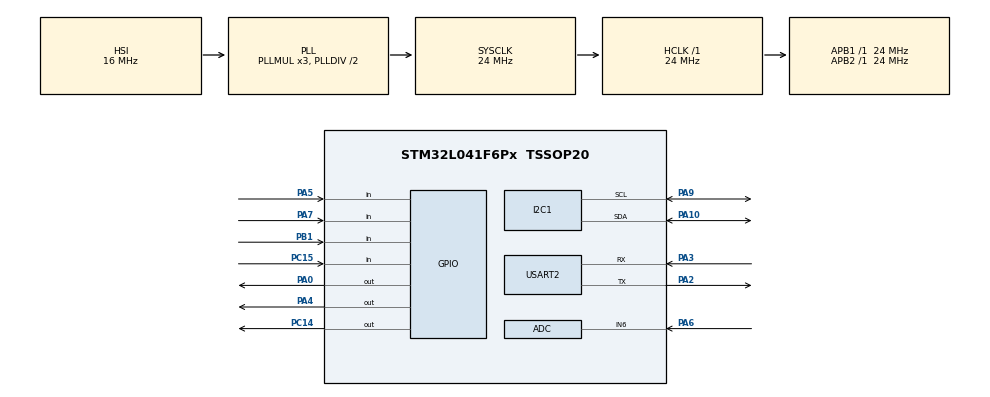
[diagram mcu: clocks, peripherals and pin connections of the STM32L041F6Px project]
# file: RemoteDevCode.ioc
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Mcu.Family=STM32L0
RCC.MSI_VALUE=4194000
PA6.Mode=IN6
PA10.Mode=I2C
VP_RTC_VS_RTC_Activate.Mode=RTC_Enabled
PC14-OSC32_IN.Signal=GPIO_Output
NVIC.USART2_IRQn=true\:0\:0\:false\:false\:true\:true\:true
RCC.SYSCLKSource=RCC_SYSCLKSOURCE_PLLCLK
ProjectManager.StackSize=0x400
NVIC.RTC_IRQn=true\:0\:0\:false\:false\:true\:true\:true
RTC.WakeUpClock-WakeUp=RTC_WAKEUPCLOCK_CK_SPRE_16BITS
PA3.Mode=Asynchronous
PA13.Signal=SYS_SWDIO
RCC.HSI16_VALUE=16000000
SH.S_TIM2_CH2.0=TIM2_CH2
PA9.Mode=I2C
RTC.SynchPrediv=289
ProjectManager.TargetToolchain=STM32CubeIDE
RCC.HCLKFreq_Value=24000000
RCC.APB2TimFreq_Value=24000000
PA9.Signal=I2C1_SCL
I2C1.Timing=0x00506682
RCC.LSE_VALUE=32768
PC15-OSC32_OUT.Signal=GPIO_Input
PA1.Signal=S_TIM2_CH2
RCC.AHBFreq_Value=24000000
PA5.Signal=GPIO_Input
RCC.HSE_VALUE=8000000
board=custom
USART2.VirtualMode-Asynchronous=VM_ASYNC
RCC.VCOOutputFreq_Value=48000000
PA0-CK_IN.Signal=GPIO_Output
RCC.APB2Freq_Value=24000000
PA14.Mode=Serial_Wire
RCC.ADCFreq_Value=16000000
PA13.Mode=Serial_Wire
Mcu.Name=STM32L041F6Px
PA2.Signal=USART2_TX
PA4.Signal=GPIO_Output
RCC.SYSCLKFreq_VALUE=24000000
Mcu.Package=TSSOP20
PB1.Signal=GPIO_Input
PA6.Signal=ADC_IN6
PC14-OSC32_IN.PinState=GPIO_PIN_SET
RTC.WakeUpCounter-WakeUp=5
PA10.Signal=I2C1_SDA
PA14.Signal=SYS_SWCLK
ProjectManager.HeapSize=0x200
RCC.HSI_VALUE=16000000
VP_RTC_VS_RTC_WakeUp_intern.Mode=WakeUp
PC14-OSC32_IN.GPIO_ModeDefaultOutputPP=GPIO_MODE_OUTPUT_OD
RCC.APB1TimFreq_Value=24000000
PA2.Mode=Asynchronous
RCC.APB1Freq_Value=24000000
RCC.MSIClockRange=RCC_MSIRANGE_6
PA3.Signal=USART2_RX
PA7.Signal=GPIO_Input

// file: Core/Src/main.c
/* USER CODE BEGIN Header */
/**
  ******************************************************************************
  * @file           : main.c
  * @brief          : Main program body
  ******************************************************************************
  * @attention
  *
  * <h2><center>&copy; Copyright (c) 2022 STMicroelectronics.
  * All rights reserved.</center></h2>
  *
  * This software component is licensed by ST under BSD 3-Clause license,
  * the "License"; You may not use this file except in compliance with the
  * License. You may obtain a copy of the License at:
  *                        opensource.org/licenses/BSD-3-Clause
  *
  ******************************************************************************
  */

/* USER CODE END Header */
#include "main.h"

/* USER CODE BEGIN Includes */
#include "ADT7410_TempSensor.h"
/* USER CODE END Includes */

/* USER CODE BEGIN PTD */

// **********************************
// ** Temperature / I2C1 / ADT7140 **
// **********************************
short int Temp1_E;
short int Temp1_F;
short int Temp2_E;
short int Temp2_F;
short int Temp1,Temp2;

/* USER CODE END PTD */

ADC_HandleTypeDef hadc;

I2C_HandleTypeDef hi2c1;

RTC_HandleTypeDef hrtc;

UART_HandleTypeDef huart2;

/* USER CODE BEGIN PV */
static void SystemPower_Config(void);
/* USER CODE END PV */

void SystemClock_Config(void);
static void MX_GPIO_Init(void);
static void MX_ADC_Init(void);
static void MX_USART2_UART_Init(void);
static void MX_I2C1_Init(void);
static void MX_RTC_Init(void);

int main(void)
{

  // =============================================================================
  // ******************************************
  // ** POR Reset = reset Hard
  // ******************************************
  // =============================================================================

  /* MCU Configuration--------------------------------------------------------*/

  /* Reset of all peripherals, Initializes the Flash interface and the Systick. */
  HAL_Init();

  /* Configure the system clock */
  SystemClock_Config();

  /* USER CODE BEGIN SysInit */
  // pour pouvoir débugger en mode standby...
  DBGMCU->CR|=DBGMCU_CR_DBG_STANDBY;

  /* USER CODE END SysInit */

  /* Initialize all configured peripherals */
  MX_GPIO_Init();
  MX_ADC_Init();
  MX_USART2_UART_Init();
  MX_I2C1_Init();
  MX_RTC_Init();

  /* USER CODE BEGIN 2 */
   SystemPower_Config();
  /* Check and handle if the system was resumed from StandBy mode */
  if(__HAL_PWR_GET_FLAG(PWR_FLAG_SB) != RESET)
  {
    /* Clear Standby flag */
    __HAL_PWR_CLEAR_FLAG(PWR_FLAG_SB);
  }

  // ******************************************
  // ** Temperature / I2C1 / ADT7140 test OK **
  // ******************************************

  ADT7410_Init();
  Temp1=ADT7410_GetTemp_fract_9_7();
  Temp1_E =Temp1>>7;
  Temp1_F =Temp1 & 0x003F;

  // test
  HAL_GPIO_TogglePin(GPIOA, 1);

  // ******************************************
  // ** Endormissement Stanby mode			 **
  // ******************************************
  /* Clear the WAKEUPTIMER interrupt pending bit */
  //__HAL_RTC_WAKEUPTIMER_CLEAR_FLAG(hrtc, RTC_FLAG_WUTF);
  // clear global
  __HAL_PWR_CLEAR_FLAG(PWR_FLAG_WU);
  //HAL_PWR_EnterSTANDBYMode();

  /* USER CODE END 2 */

  /* Infinite loop */
  while (1)
  {

  }
}

void SystemClock_Config(void)
{
  RCC_OscInitTypeDef RCC_OscInitStruct = {0};
  RCC_ClkInitTypeDef RCC_ClkInitStruct = {0};
  RCC_PeriphCLKInitTypeDef PeriphClkInit = {0};

  /** Configure the main internal regulator output voltage
  */
  __HAL_PWR_VOLTAGESCALING_CONFIG(PWR_REGULATOR_VOLTAGE_SCALE1);
  /** Initializes the RCC Oscillators according to the specified parameters
  * in the RCC_OscInitTypeDef structure.
  */
  RCC_OscInitStruct.OscillatorType = RCC_OSCILLATORTYPE_HSI|RCC_OSCILLATORTYPE_LSI;
  RCC_OscInitStruct.HSIState = RCC_HSI_ON;
  RCC_OscInitStruct.HSICalibrationValue = RCC_HSICALIBRATION_DEFAULT;
  RCC_OscInitStruct.LSIState = RCC_LSI_ON;
  RCC_OscInitStruct.PLL.PLLState = RCC_PLL_ON;
  RCC_OscInitStruct.PLL.PLLSource = RCC_PLLSOURCE_HSI;
  RCC_OscInitStruct.PLL.PLLMUL = RCC_PLLMUL_3;
  RCC_OscInitStruct.PLL.PLLDIV = RCC_PLLDIV_2;
  if (HAL_RCC_OscConfig(&RCC_OscInitStruct) != HAL_OK)
  {
    Error_Handler();
  }
  /** Initializes the CPU, AHB and APB buses clocks
  */
  RCC_ClkInitStruct.ClockType = RCC_CLOCKTYPE_HCLK|RCC_CLOCKTYPE_SYSCLK
                              |RCC_CLOCKTYPE_PCLK1|RCC_CLOCKTYPE_PCLK2;
  RCC_ClkInitStruct.SYSCLKSource = RCC_SYSCLKSOURCE_PLLCLK;
  RCC_ClkInitStruct.AHBCLKDivider = RCC_SYSCLK_DIV1;
  RCC_ClkInitStruct.APB1CLKDivider = RCC_HCLK_DIV1;
  RCC_ClkInitStruct.APB2CLKDivider = RCC_HCLK_DIV1;

  if (HAL_RCC_ClockConfig(&RCC_ClkInitStruct, FLASH_LATENCY_1) != HAL_OK)
  {
    Error_Handler();
  }
  PeriphClkInit.PeriphClockSelection = RCC_PERIPHCLK_USART2|RCC_PERIPHCLK_I2C1
                              |RCC_PERIPHCLK_RTC;
  PeriphClkInit.Usart2ClockSelection = RCC_USART2CLKSOURCE_PCLK1;
  PeriphClkInit.I2c1ClockSelection = RCC_I2C1CLKSOURCE_PCLK1;
  PeriphClkInit.RTCClockSelection = RCC_RTCCLKSOURCE_LSI;
  if (HAL_RCCEx_PeriphCLKConfig(&PeriphClkInit) != HAL_OK)
  {
    Error_Handler();
  }
}

static void MX_ADC_Init(void)
{

  ADC_ChannelConfTypeDef sConfig = {0};

  /** Configure the global features of the ADC (Clock, Resolution, Data Alignment and number of conversion)
  */
  hadc.Instance = ADC1;
  hadc.Init.OversamplingMode = DISABLE;
  hadc.Init.ClockPrescaler = ADC_CLOCK_SYNC_PCLK_DIV2;
  hadc.Init.Resolution = ADC_RESOLUTION_12B;
  hadc.Init.SamplingTime = ADC_SAMPLETIME_1CYCLE_5;
  hadc.Init.ScanConvMode = ADC_SCAN_DIRECTION_FORWARD;
  hadc.Init.DataAlign = ADC_DATAALIGN_RIGHT;
  hadc.Init.ContinuousConvMode = DISABLE;
  hadc.Init.DiscontinuousConvMode = DISABLE;
  hadc.Init.ExternalTrigConvEdge = ADC_EXTERNALTRIGCONVEDGE_NONE;
  hadc.Init.ExternalTrigConv = ADC_SOFTWARE_START;
  hadc.Init.DMAContinuousRequests = DISABLE;
  hadc.Init.EOCSelection = ADC_EOC_SINGLE_CONV;
  hadc.Init.Overrun = ADC_OVR_DATA_PRESERVED;
  hadc.Init.LowPowerAutoWait = DISABLE;
  hadc.Init.LowPowerFrequencyMode = DISABLE;
  hadc.Init.LowPowerAutoPowerOff = DISABLE;
  if (HAL_ADC_Init(&hadc) != HAL_OK)
  {
    Error_Handler();
  }
  /** Configure for the selected ADC regular channel to be converted.
  */
  sConfig.Channel = ADC_CHANNEL_6;
  sConfig.Rank = ADC_RANK_CHANNEL_NUMBER;
  if (HAL_ADC_ConfigChannel(&hadc, &sConfig) != HAL_OK)
  {
    Error_Handler();
  }

}

static void MX_I2C1_Init(void)
{

  hi2c1.Instance = I2C1;
  hi2c1.Init.Timing = 0x00506682;
  hi2c1.Init.OwnAddress1 = 0;
  hi2c1.Init.AddressingMode = I2C_ADDRESSINGMODE_7BIT;
  hi2c1.Init.DualAddressMode = I2C_DUALADDRESS_DISABLE;
  hi2c1.Init.OwnAddress2 = 0;
  hi2c1.Init.OwnAddress2Masks = I2C_OA2_NOMASK;
  hi2c1.Init.GeneralCallMode = I2C_GENERALCALL_DISABLE;
  hi2c1.Init.NoStretchMode = I2C_NOSTRETCH_DISABLE;
  if (HAL_I2C_Init(&hi2c1) != HAL_OK)
  {
    Error_Handler();
  }
  /** Configure Analogue filter
  */
  if (HAL_I2CEx_ConfigAnalogFilter(&hi2c1, I2C_ANALOGFILTER_ENABLE) != HAL_OK)
  {
    Error_Handler();
  }
  /** Configure Digital filter
  */
  if (HAL_I2CEx_ConfigDigitalFilter(&hi2c1, 0) != HAL_OK)
  {
    Error_Handler();
  }

}

static void MX_RTC_Init(void)
{

  /** Initialize RTC Only
  */
  hrtc.Instance = RTC;
  hrtc.Init.HourFormat = RTC_HOURFORMAT_24;
  hrtc.Init.AsynchPrediv = 127;
  hrtc.Init.SynchPrediv = 289;
  hrtc.Init.OutPut = RTC_OUTPUT_DISABLE;
  hrtc.Init.OutPutRemap = RTC_OUTPUT_REMAP_NONE;
  hrtc.Init.OutPutPolarity = RTC_OUTPUT_POLARITY_HIGH;
  hrtc.Init.OutPutType = RTC_OUTPUT_TYPE_OPENDRAIN;
  if (HAL_RTC_Init(&hrtc) != HAL_OK)
  {
    Error_Handler();
  }
  /** Enable the WakeUp
  */
  if (HAL_RTCEx_SetWakeUpTimer_IT(&hrtc, 10, RTC_WAKEUPCLOCK_CK_SPRE_16BITS) != HAL_OK)
  {
    Error_Handler();
  }

}

static void MX_USART2_UART_Init(void)
{

  huart2.Instance = USART2;
  huart2.Init.BaudRate = 115200;
  huart2.Init.WordLength = UART_WORDLENGTH_8B;
  huart2.Init.StopBits = UART_STOPBITS_1;
  huart2.Init.Parity = UART_PARITY_NONE;
  huart2.Init.Mode = UART_MODE_TX_RX;
  huart2.Init.HwFlowCtl = UART_HWCONTROL_NONE;
  huart2.Init.OverSampling = UART_OVERSAMPLING_16;
  huart2.Init.OneBitSampling = UART_ONE_BIT_SAMPLE_DISABLE;
  huart2.AdvancedInit.AdvFeatureInit = UART_ADVFEATURE_NO_INIT;
  if (HAL_UART_Init(&huart2) != HAL_OK)
  {
    Error_Handler();
  }

}

static void MX_GPIO_Init(void)
{
  GPIO_InitTypeDef GPIO_InitStruct = {0};

  /* GPIO Ports Clock Enable */
  __HAL_RCC_GPIOC_CLK_ENABLE();
  __HAL_RCC_GPIOA_CLK_ENABLE();
  __HAL_RCC_GPIOB_CLK_ENABLE();

  /*Configure GPIO pin Output Level */
  HAL_GPIO_WritePin(GPIOC, GPIO_PIN_14, GPIO_PIN_SET);

  /*Configure GPIO pin Output Level */
  HAL_GPIO_WritePin(GPIOA, GPIO_PIN_0|GPIO_PIN_4, GPIO_PIN_RESET);

  /*Configure GPIO pin : PC14 */
  GPIO_InitStruct.Pin = GPIO_PIN_14;
  GPIO_InitStruct.Mode = GPIO_MODE_OUTPUT_OD;
  GPIO_InitStruct.Pull = GPIO_NOPULL;
  GPIO_InitStruct.Speed = GPIO_SPEED_FREQ_LOW;
  HAL_GPIO_Init(GPIOC, &GPIO_InitStruct);

  /*Configure GPIO pin : PC15 */
  GPIO_InitStruct.Pin = GPIO_PIN_15;
  GPIO_InitStruct.Mode = GPIO_MODE_INPUT;
  GPIO_InitStruct.Pull = GPIO_NOPULL;
  HAL_GPIO_Init(GPIOC, &GPIO_InitStruct);

  /*Configure GPIO pins : PA0 PA4 */
  GPIO_InitStruct.Pin = GPIO_PIN_0|GPIO_PIN_4;
  GPIO_InitStruct.Mode = GPIO_MODE_OUTPUT_PP;
  GPIO_InitStruct.Pull = GPIO_NOPULL;
  GPIO_InitStruct.Speed = GPIO_SPEED_FREQ_LOW;
  HAL_GPIO_Init(GPIOA, &GPIO_InitStruct);

  /*Configure GPIO pin : PA1 */
  GPIO_InitStruct.Pin = GPIO_PIN_1;
  GPIO_InitStruct.Mode = GPIO_MODE_AF_PP;
  GPIO_InitStruct.Pull = GPIO_NOPULL;
  GPIO_InitStruct.Speed = GPIO_SPEED_FREQ_LOW;
  GPIO_InitStruct.Alternate = GPIO_AF2_TIM2;
  HAL_GPIO_Init(GPIOA, &GPIO_InitStruct);

  /*Configure GPIO pins : PA5 PA7 */
  GPIO_InitStruct.Pin = GPIO_PIN_5|GPIO_PIN_7;
  GPIO_InitStruct.Mode = GPIO_MODE_INPUT;
  GPIO_InitStruct.Pull = GPIO_NOPULL;
  HAL_GPIO_Init(GPIOA, &GPIO_InitStruct);

  /*Configure GPIO pin : PB1 */
  GPIO_InitStruct.Pin = GPIO_PIN_1;
  GPIO_InitStruct.Mode = GPIO_MODE_INPUT;
  GPIO_InitStruct.Pull = GPIO_NOPULL;
  HAL_GPIO_Init(GPIOB, &GPIO_InitStruct);

}

/* USER CODE BEGIN 4 */
static void SystemPower_Config(void)
{
  /* Enable Power Control clock */
  __HAL_RCC_PWR_CLK_ENABLE();

  /* Enable Ultra low power mode */
  HAL_PWREx_EnableUltraLowPower();

  /* Enable the fast wake up from Ultra low power mode */
  HAL_PWREx_EnableFastWakeUp();
}
/* USER CODE END 4 */

void Error_Handler(void)
{
  __disable_irq();
  while (1)
  {
  }
}

/************************ (C) COPYRIGHT STMicroelectronics *****END OF FILE****/
